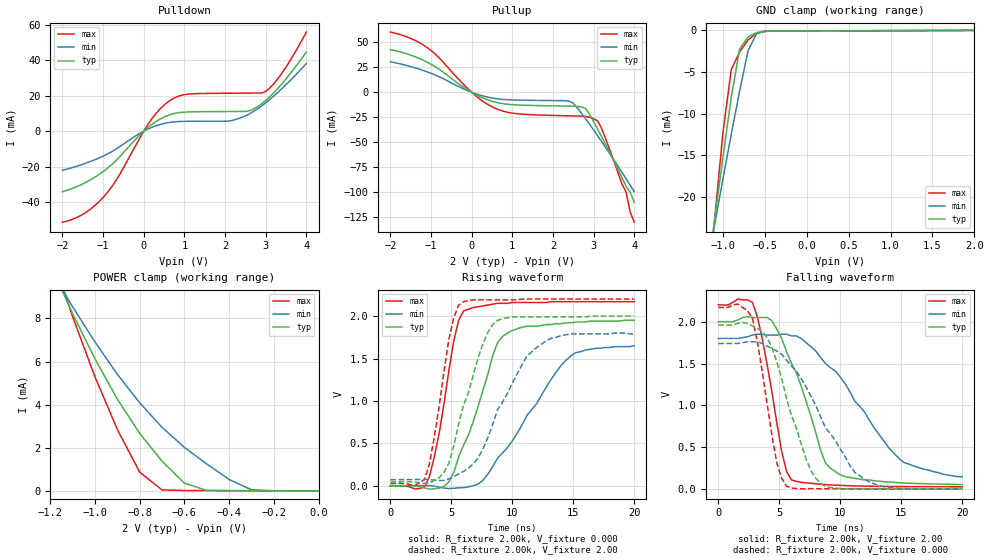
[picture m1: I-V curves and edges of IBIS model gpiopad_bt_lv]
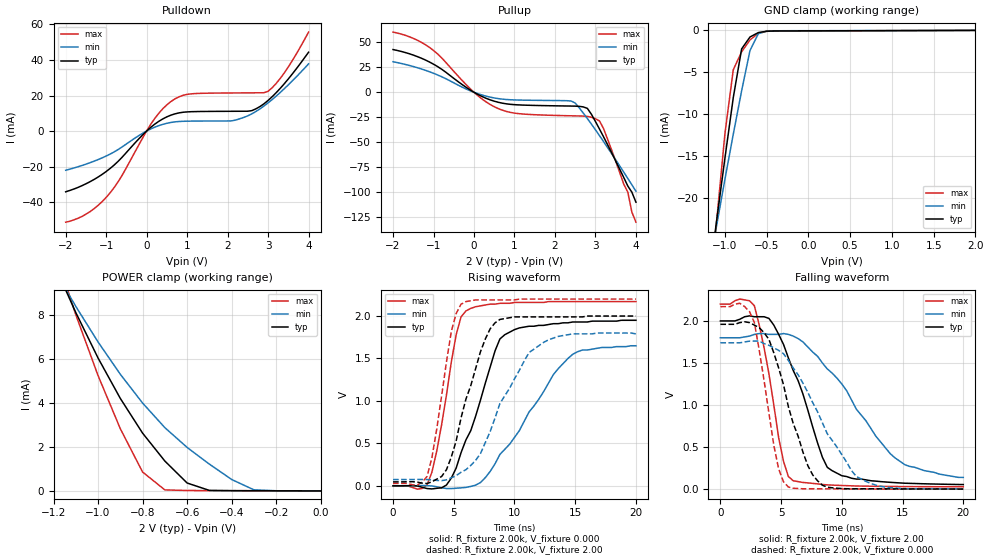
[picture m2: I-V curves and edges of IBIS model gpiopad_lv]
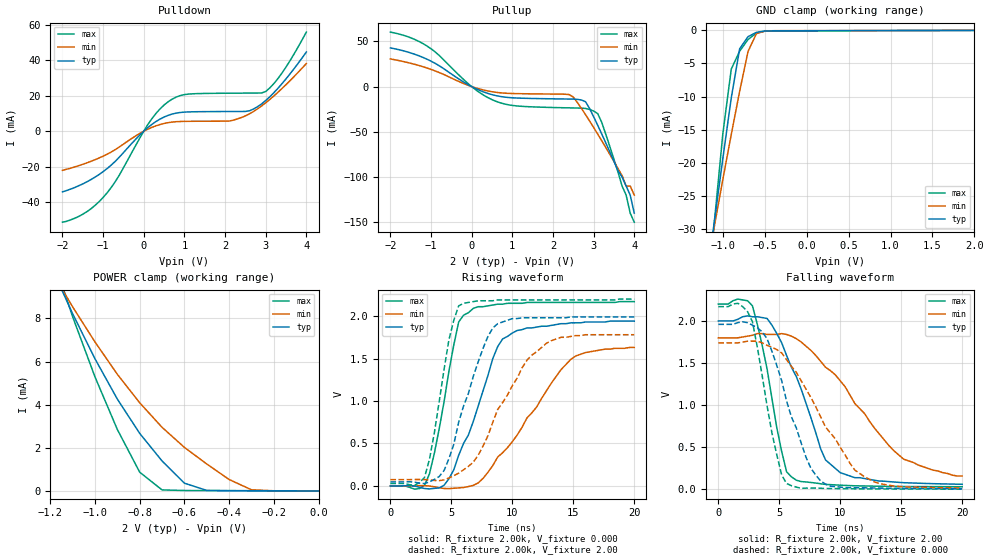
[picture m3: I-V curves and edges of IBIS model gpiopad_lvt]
| IBIS file m5602t00.ibs created by s2ibis2 version 1.1
| North Carolina State University Electronics Research Laboratory  1995
[IBIS ver]   2.1
[File name]   m5602t00.ibs
[File Rev]   1.2
[Date]   April 20, 2006
[Source]   Lars Snith
[Notes]   Property of Atmel Corporation
[Disclaimer] (C) Copyright ATMEL Norway 2006 Atmel Norway makes no warranty
                 for the use of its products, other than those explicitly
                 stated in the Company's standard warranty which is detailed in
                 Atmel's Terms and Conditions located on the Company's web
                 site. The Company assumes no responsibility for any errors
                 which may appear in this document. The user is granted this
                 license only to use the IBIS model and is not granted rights
                 to sell, load, rent, lease or license the IBIS model in whole
                 or in part, or in modified form to anyone other than user.
                 User may modify the IBIS model to suit its specific
                 applications but rights to derivative works and such
                 modifications shall belong to Atmel Norway. This IBIS model is
                 provided on an \"AS IS\" basis and Atmel Norway makes
                 absolutely no warranty with respect to the information
                 contained herein.
[Copyright]   Copyright (c) 2006 by ATMEL Norway
|   Component atmega2560_20_tqfp100
[Component]   atmega2560_20_tqfp100
[Manufacturer]   Atmel Corp.
[Package]
| variable   typ   min   max
R_pkg   19.00m   16.90m   21.20m
L_pkg   1.20nH   1.08nH   1.31nH
C_pkg   0.27pF   0.27pF   0.27pF
[Pin]  signal_name   model_name   R_pin   L_pin   C_pin
1   PG5   gpiopad_lv
| dg5  dg5   dummy
| eng5 eng5   dummy
2   PE0   gpiopad_lv
| de0  de0   dummy
| ene0 ene0   dummy
3   PE1   gpiopad_lv
| de1  de1   dummy
| ene1 ene1   dummy
4   PE2   gpiopad_lv
| de2  de2   dummy
| ene2 ene2   dummy
5   PE3   gpiopad_lv
| de3  de3   dummy
| ene3 ene3   dummy
6   PE4   gpiopad_lv
| de4  de4   dummy
| ene4 ene4   dummy
7   PE5   gpiopad_lv
| de5  de5   dummy
| ene5 ene5   dummy
8   PE6   gpiopad_lv
| de6  de6   dummy
| ene6 ene6   dummy
9   PE7   gpiopad_lv
| de7  de7   dummy
| ene7 ene7   dummy
10   VCC   POWER
11   GND   GND
12   PH0   gpiopad_lv
| dh0  dh0   dummy
| enh0 enh0   dummy
13   PH1   gpiopad_lv
| dh1  dh1   dummy
| enh1 enh1   dummy
14   PH2   gpiopad_lv
| dh2  dh2   dummy
| enh2 enh2   dummy
15   PH3   gpiopad_lv
| dh3  dh3   dummy
| enh3 enh3   dummy
16   PH4   gpiopad_lv
| dh4  dh4   dummy
| enh4 enh4   dummy
17   PH5   gpiopad_lv
| dh5  dh5   dummy
| enh5 enh5   dummy
18   PH6   gpiopad_lv
| dh6  dh6   dummy
| enh6 enh6   dummy
19   PB0   gpiopad_lv
| db0  db0   dummy
| enb0 enb0   dummy
20   PB1   gpiopad_lv
| db1  db1   dummy
| enb1 enb1   dummy
21   PB2   gpiopad_lv
| db2  db2   dummy
| enb2 enb2   dummy
22   PB3   gpiopad_lv
| db3  db3   dummy
| enb3 enb3   dummy
23   PB4   gpiopad_lv
| db4  db4   dummy
| enb4 enb4   dummy
24   PB5   gpiopad_lv
| db5  db5   dummy
| enb5 enb5   dummy
25   PB6   gpiopad_lv
| db6  db6   dummy
| enb6 enb6   dummy
26   PB7   gpiopad_lv
| db7  db7   dummy
| enb7 enb7   dummy
27   PH7   gpiopad_lv
| dh7  dh7   dummy
| enh7 enh7   dummy
28   PG3   gpiopad_lv
| dg3  dg3   dummy
| eng3 eng3   dummy
29   PG4   gpiopad_lv
| dg4  dg4   dummy
| eng4 eng4   dummy
30   RESET   gprstpad2
31   VCC   POWER
32   GND   GND
33   XTAL2   xtalpad_lv_ld_fullsw
| dx2  dx2   dummy
| enx2 enx2   dummy
34   XTAL1   xtalpad_lv_ld
| dx1  dx1   dummy
| enx1 enx1   dummy
35   PL0   gpiopad_lv
| dl0  dl0   dummy
| enl0 enl0   dummy
36   PL1   gpiopad_lv
| dl1  dl1   dummy
| enl1 enl1   dummy
37   PL2   gpiopad_lv
| dl2  dl2   dummy
| enl2 enl2   dummy
38   PL3   gpiopad_lv
| dl3  dl3   dummy
| enl3 enl3   dummy
39   PL4   gpiopad_lv
| dl4  dl4   dummy
| enl4 enl4   dummy
40   PL5   gpiopad_lv
| dl5  dl5   dummy
| enl5 enl5   dummy
41   PL6   gpiopad_lv
| dl6  dl6   dummy
| enl6 enl6   dummy
42   PL7   gpiopad_lv
| dl7  dl7   dummy
| enl7 enl7   dummy
43   PD0   gpiopad_lvt
| dd0  dd0   dummy
| end0 end0   dummy
44   PD1   gpiopad_lvt
| dd1  dd1   dummy
| end1 end1   dummy
45   PD2   gpiopad_lv
| dd2  dd2   dummy
| end2 end2   dummy
46   PD3   gpiopad_lv
| dd3  dd3   dummy
| end3 end3   dummy
47   PD4   gpiopad_lv
| dd4  dd4   dummy
| end4 end4   dummy
48   PD5   gpiopad_lv
| dd5  dd5   dummy
| end5 end5   dummy
49   PD6   gpiopad_lv
| dd6  dd6   dummy
| end6 end6   dummy
50   PD7   gpiopad_lv
| dd7  dd7   dummy
| end7 end7   dummy
51   PG0   gpiopad_lv
| dg0  dg0   dummy
| eng0 eng0   dummy
52   PG1   gpiopad_lv
| dg1  dg1   dummy
| eng1 eng1   dummy
53   PC0   gpiopad_lv
| dc0  dc0   dummy
| enc0 enc0   dummy
54   PC1   gpiopad_lv
| dc1  dc1   dummy
| enc1 enc1   dummy
55   PC2   gpiopad_lv
| dc2  dc2   dummy
| enc2 enc2   dummy
56   PC3   gpiopad_lv
| dc3  dc3   dummy
| enc3 enc3   dummy
57   PC4   gpiopad_lv
| dc4  dc4   dummy
| enc4 enc4   dummy
58   PC5   gpiopad_lv
| dc5  dc5   dummy
| enc5 enc5   dummy
59   PC6   gpiopad_lv
| dc6  dc6   dummy
| enc6 enc6   dummy
60   PC7   gpiopad_lv
| dc7  dc7   dummy
| enc7 enc7   dummy
61   VCC   POWER
62   GND   GND
63   PJ0   gpiopad_lv
| dj0  dj0   dummy
| enj0 enj0   dummy
64   PJ1   gpiopad_lv
| dj1  dj1   dummy
| enj1 enj1   dummy
65   PJ2   gpiopad_lv
| dj2  dj2   dummy
| enj2 enj2   dummy
66   PJ3   gpiopad_lv
| dj3  dj3   dummy
| enj3 enj3   dummy
67   PJ4   gpiopad_lv
| dj4  dj4   dummy
| enj4 enj4   dummy
68   PJ5   gpiopad_lv
| dj5  dj5   dummy
| enj5 enj5   dummy
69   PJ6   gpiopad_lv
| dj6  dj6   dummy
| enj6 enj6   dummy
70   PG2   gpiopad_lv
| dg2  dg2   dummy
| eng2 eng2   dummy
71   PA7   gpiopad_bt_lv
| da7  da7   dummy
| ena7 ena7   dummy
72   PA6   gpiopad_bt_lv
| da6  da6   dummy
| ena6 ena6   dummy
73   PA5   gpiopad_bt_lv
| da5  da5   dummy
| ena5 ena5   dummy
74   PA4   gpiopad_bt_lv
| da4  da4   dummy
| ena4 ena4   dummy
75   PA3   gpiopad_bt_lv
| da3  da3   dummy
| ena3 ena3   dummy
76   PA2   gpiopad_bt_lv
| da2  da2   dummy
| ena2 ena2   dummy
77   PA1   gpiopad_bt_lv
| da1  da1   dummy
| ena1 ena1   dummy
78   PA0   gpiopad_bt_lv
| da0  da0   dummy
| ena0 ena0   dummy
79   PJ7   gpiopad_lv
| dj7  dj7   dummy
| enj7 enj7   dummy
80   VCC   POWER
81   GND   GND
82   PK7   gpiopad_lv
| dk7  dk7   dummy
| enk7 enk7   dummy
83   PK6   gpiopad_lv
| dk6  dk6   dummy
| enk6 enk6   dummy
84   PK5   gpiopad_lv
| dk5  dk5   dummy
| enk5 enk5   dummy
85   PK4   gpiopad_lv
| dk4  dk4   dummy
| enk4 enk4   dummy
86   PK3   gpiopad_lv
| dk3  dk3   dummy
| enk3 enk3   dummy
87   PK2   gpiopad_lv
| dk2  dk2   dummy
| enk2 enk2   dummy
88   PK1   gpiopad_lv
| dk1  dk1   dummy
| enk1 enk1   dummy
89   PK0   gpiopad_lv
| dk0  dk0   dummy
| enk0 enk0   dummy
90   PF7   gpiopad_lv
| df7  df7   dummy
| enf7 enf7   dummy
91   PF6   gpiopad_lv
| df6  df6   dummy
| enf6 enf6   dummy
92   PF5   gpiopad_lv
| df5  df5   dummy
| enf5 enf5   dummy
93   PF4   gpiopad_lv
| df4  df4   dummy
| enf4 enf4   dummy
94   PF3   gpiopad_lv
| df3  df3   dummy
| enf3 enf3   dummy
95   PF2   gpiopad_lv
| df2  df2   dummy
| enf2 enf2   dummy
96   PF1   gpiopad_lv
| df1  df1   dummy
| enf1 enf1   dummy
97   PF0   gpiopad_lv
| df0  df0   dummy
| enf0 enf0   dummy
98   AREF   gpiopad_lv_ld
| darefdaref   dummy
| enarfenarf   dummy
99   GND   GND
100   AVCC   POWER
| Models and submodels in the file (7): gpiopad_bt_lv (I/O), gpiopad_lv (I/O), gpiopad_lvt (I/O), gpiopad_lv_ld (I/O), xtalpad_lv_ld (I/O), xtalpad_lv_ld_fullsw (I/O), gprstpad2 (Input)
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|   Model gpiopad_bt_lv
[Model]   gpiopad_bt_lv
Model_type   I/O
Polarity   Non-Inverting
Enable   Active-High
Vinl =   0.60V
Vinh =   1.40V
Vmeas =   1.00V
Cref =  50.00pF
C_comp   4.21pF   4.21pF   4.61pF
[Temperature Range]   27.00   0.12k   -55.00
[Voltage Range]   2.00V   1.80V   2.20V
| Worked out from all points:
|   slope of the pulldown table from 0 to 0.3 V, typ, clamps not added: 55.3 ohm
|   slope of the pullup table from 0 to 0.3 V, typ, clamps not added: 49.8 ohm
|   GND clamp passes 1 mA (typ) near -0.71 V on its own axis
|   POWER clamp passes 1 mA (typ) near -0.66 V on its own axis
|   rising waveform, R_fixture 2.00k, V_fixture 0.000: 20-80 % time 2.71ns typ, 4.7ns min, 1.51ns max; typ from 0 V to 1.95 V
|   rising waveform, R_fixture 2.00k, V_fixture 2.00: 20-80 % time 2.3ns typ, 3.35ns min, 1.4ns max; typ from 0.047 V to 2 V
|   falling waveform, R_fixture 2.00k, V_fixture 2.00: 20-80 % time 2.76ns typ, 5.03ns min, 1.54ns max; typ from 2 V to 0.056 V
|   falling waveform, R_fixture 2.00k, V_fixture 0.000: 20-80 % time 2.44ns typ, 4.06ns min, 1.42ns max; typ from 1.96 V to 0.002 V
[Pulldown]
| voltage   I(typ)   I(min)   I(max)
-2V       -34.06mA   -21.97mA   -51.2mA
-1.5V     -29.63mA   -18.56mA   -46.78mA
-1V       -22.73mA   -13.99mA   -37.27mA
-600mV    -14.54mA   -8.78mA    -24.63mA
100mV     2.09mA     1.2mA      3.78mA
600mV     8.97mA     4.87mA     16.62mA
1V        10.79mA    5.58mA     20.65mA
2.1V      11.13mA    5.75mA     21.43mA
2.6V      11.52mA    9.8mA      21.51mA
3V        17.32mA    16.03mA    22.4mA
3.4V      26.78mA    24.07mA    32.79mA
4V        44.63mA    38.15mA    55.86mA
[Pullup]
| voltage   I(typ)   I(min)   I(max)
-2V       42.79mA    30.61mA    60.31mA
-1.1V     30.32mA    20.57mA    44.92mA
0V        0A         0A         0A
600mV     -10mA      -6.32mA    -16.31mA
1.1V      -12.62mA   -7.76mA    -21.34mA
2.4V      -13.78mA   -8.76mA    -23.53mA
2.8V      -16.12mA   -26.35mA   -24.12mA
3.1V      -36.86mA   -43.55mA   -28.68mA
3.2V      -44.62mA   -49.5mA    -36.37mA
3.8V      -94.06mA   -86.6mA    -100mA
3.9V      -100mA     -92.96mA   -120mA
4V        -110mA     -99.36mA   -130mA
[GND_clamp]
| voltage   I(typ)   I(min)   I(max)
-2V       -96.84mA   -77.85mA   -130mA
-1.2V     -30.54mA   -29.17mA   -33.74mA
-1.1V     -22.83mA   -23.45mA   -22.88mA
-1V       -15.3mA    -17.88mA   -12.34mA
-900mV    -8.05mA    -12.47mA   -4.71mA
-800mV    -2.23mA    -7.27mA    -2.57mA
-700mV    -800uA     -2.45mA    -1.15mA
-600mV    -270uA     -420uA     -350uA
-500mV    -110uA     -120uA     -120uA
2V        56.53pA    8.29uA     -6.36uA
[POWER_clamp]
| voltage   I(typ)   I(min)   I(max)
-2V       33.35mA    27.47mA    42.79mA
-1.2V     10.5mA     10.29mA    11.2mA
-1.1V     8.22mA     8.54mA     8.08mA
-1V       6.13mA     6.91mA     5.29mA
-900mV    4.26mA     5.41mA     2.85mA
-800mV    2.67mA     4.09mA     870uA
-700mV    1.38mA     2.95mA     47.34uA
-600mV    360uA      2.02mA     20.01uA
-500mV    24.1uA     1.25mA     15.94uA
-400mV    12.5uA     530uA      12.74uA
-300mV    9.23uA     53.03uA    9.55uA
0V        56.55pA    1.69nA     21.57pA
[Ramp]
| variable   typ   min   max
dV/dt_r   1.17/2.70n   0.99/4.45n   1.30/1.49n
dV/dt_f   1.17/2.77n   0.99/4.89n   1.30/1.53n
R_load = 2.00k
[Rising Waveform]
R_fixture = 2.00k
V_fixture = 0.000
V_fixture_min = 0.000
V_fixture_max = 0.000
| time   V(typ)   V(min)   V(max)
0s        0V         570nV      0V
3.2ns     -38.22mV   3.19mV     110mV
4ns       -26.64mV   -13.9mV    620mV
4.8ns     49.23mV    -30.81mV   1.36V
5.6ns     340mV      -22.26mV   1.95V
6ns       480mV      -19.92mV   2.06V
7.6ns     1.13V      68.16mV    2.12V
9.2ns     1.76V      390mV      2.15V
14.8ns    1.92V      1.53V      2.17V
20ns      1.95V      1.65V      2.17V
[Rising Waveform]
R_fixture = 2.00k
V_fixture = 2.00
V_fixture_min = 1.80
V_fixture_max = 2.20
| time   V(typ)   V(min)   V(max)
0s        46.62mV    73.87mV    28.11mV
2.8ns     31.15mV    75.93mV    77.02mV
3.6ns     65.29mV    69.33mV    570mV
4.4ns     160mV      65.3mV     1.35V
5.6ns     730mV      140mV      2.13V
7.2ns     1.51V      330mV      2.19V
8.8ns     1.95V      900mV      2.19V
11.2ns    1.99V      1.53V      2.2V
12.8ns    1.99V      1.71V      2.2V
20ns      2V         1.79V      2.2V
[Falling Waveform]
R_fixture = 2.00k
V_fixture = 2.00
V_fixture_min = 1.80
V_fixture_max = 2.20
| time   V(typ)   V(min)   V(max)
0s        2V         1.8V       2.2V
2.8ns     2.05V      1.84V      2.23V
3.6ns     2.05V      1.85V      1.8V
4.4ns     2.01V      1.84V      1.16V
5.2ns     1.8V       1.85V      450mV
6ns       1.5V       1.83V      110mV
8.4ns     460mV      1.57V      59.1mV
9.2ns     250mV      1.45V      50.89mV
15.2ns    73.46mV    320mV      31.06mV
20ns      55.64mV    150mV      28.89mV
[Falling Waveform]
R_fixture = 2.00k
V_fixture = 0.000
V_fixture_min = 0.000
V_fixture_max = 0.000
| time   V(typ)   V(min)   V(max)
0s        1.96V      1.74V      2.17V
1.6ns     1.98V      1.74V      2.21V
2.8ns     1.95V      1.76V      2.04V
4ns       1.81V      1.71V      1.02V
4.8ns     1.52V      1.65V      310mV
5.6ns     1.08V      1.54V      35.93mV
7.6ns     220mV      1.11V      6.43mV
8.8ns     31.6mV     730mV      5.21mV
12.4ns    6.57mV     84.93mV    2mV
20ns      1.5mV      5.2mV      310uV
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|   Model gpiopad_lv
[Model]   gpiopad_lv
Model_type   I/O
Polarity   Non-Inverting
Enable   Active-High
Vinl =   0.60V
Vinh =   1.40V
Vmeas =   1.00V
Cref =  50.00pF
C_comp   4.21pF   4.21pF   4.61pF
[Temperature Range]   27.00   0.12k   -55.00
[Voltage Range]   2.00V   1.80V   2.20V
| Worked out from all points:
|   slope of the pulldown table from 0 to 0.3 V, typ, clamps not added: 55.2 ohm
|   slope of the pullup table from 0 to 0.3 V, typ, clamps not added: 49.8 ohm
|   GND clamp passes 1 mA (typ) near -0.71 V on its own axis
|   POWER clamp passes 1 mA (typ) near -0.66 V on its own axis
|   rising waveform, R_fixture 2.00k, V_fixture 0.000: 20-80 % time 2.74ns typ, 4.6ns min, 1.51ns max; typ from 0 V to 1.95 V
|   rising waveform, R_fixture 2.00k, V_fixture 2.00: 20-80 % time 2.27ns typ, 3.4ns min, 1.38ns max; typ from 0.047 V to 2 V
|   falling waveform, R_fixture 2.00k, V_fixture 2.00: 20-80 % time 2.78ns typ, 5.12ns min, 1.54ns max; typ from 2 V to 0.055 V
|   falling waveform, R_fixture 2.00k, V_fixture 0.000: 20-80 % time 2.4ns typ, 4.03ns min, 1.43ns max; typ from 1.96 V to 0.001 V
[Pulldown]
| voltage   I(typ)   I(min)   I(max)
-2V       -34.12mA   -22.01mA   -51.2mA
-1.4V     -28.46mA   -17.78mA   -45.3mA
-1V       -22.73mA   -14.01mA   -37.27mA
-600mV    -14.55mA   -8.8mA     -24.63mA
100mV     2.09mA     1.19mA     3.78mA
600mV     8.96mA     4.86mA     16.62mA
1V        10.79mA    5.57mA     20.65mA
2.1V      11.13mA    5.75mA     21.43mA
2.6V      11.51mA    9.72mA     21.51mA
3V        17.24mA    15.87mA    22.39mA
3.4V      26.62mA    23.83mA    32.71mA
4V        44.35mA    37.79mA    55.65mA
[Pullup]
| voltage   I(typ)   I(min)   I(max)
-2V       42.79mA    30.6mA     60.26mA
-1.1V     30.32mA    20.57mA    44.92mA
0V        0A         0A         0A
600mV     -10mA      -6.32mA    -16.31mA
1.1V      -12.61mA   -7.75mA    -21.34mA
2.4V      -13.77mA   -8.73mA    -23.52mA
2.8V      -16.11mA   -26.26mA   -24.11mA
3.1V      -36.8mA    -43.39mA   -28.68mA
3.2V      -44.53mA   -49.31mA   -36.36mA
3.8V      -93.85mA   -86.29mA   -100mA
3.9V      -100mA     -92.62mA   -120mA
4V        -110mA     -98.99mA   -130mA
[GND_clamp]
| voltage   I(typ)   I(min)   I(max)
-2V       -96.58mA   -77.54mA   -130mA
-1.2V     -30.46mA   -29.03mA   -33.69mA
-1.1V     -22.77mA   -23.34mA   -22.85mA
-1V       -15.26mA   -17.79mA   -12.32mA
-900mV    -8.02mA    -12.4mA    -4.7mA
-800mV    -2.21mA    -7.21mA    -2.56mA
-700mV    -790uA     -2.41mA    -1.14mA
-600mV    -260uA     -390uA     -350uA
-500mV    -98.35uA   -96.47uA   -110uA
2V        52.86pA    7.37uA     -6.18uA
[POWER_clamp]
| voltage   I(typ)   I(min)   I(max)
-2V       33.07mA    27.15mA    42.54mA
-1.2V     10.38mA    10.13mA    11.12mA
-1.1V     8.12mA     8.4mA      8.02mA
-1V       6.05mA     6.78mA     5.25mA
-900mV    4.21mA     5.31mA     2.83mA
-800mV    2.63mA     4mA        860uA
-700mV    1.36mA     2.88mA     46.5uA
-600mV    360uA      1.98mA     19.47uA
-500mV    22.74uA    1.22mA     15.49uA
-400mV    11.65uA    520uA      12.38uA
-300mV    8.59uA     50.31uA    9.28uA
0V        53.08pA    1.68nA     17.78pA
[Ramp]
| variable   typ   min   max
dV/dt_r   1.17/2.69n   0.99/4.43n   1.30/1.48n
dV/dt_f   1.17/2.74n   1.00/4.96n   1.30/1.50n
R_load = 2.00k
[Rising Waveform]
R_fixture = 2.00k
V_fixture = 0.000
V_fixture_min = 0.000
V_fixture_max = 0.000
| time   V(typ)   V(min)   V(max)
0s        0V         540nV      0V
2.8ns     -32.19mV   2.44mV     10.58mV
3.6ns     -29.13mV   -10.93mV   410mV
4.4ns     9.63mV     -31.9mV    1.07V
5.2ns     210mV      -28.18mV   1.78V
6ns       540mV      -18.56mV   2.06V
8.4ns     1.59V      260mV      2.14V
9.2ns     1.78V      430mV      2.15V
14.8ns    1.93V      1.55V      2.17V
20ns      1.95V      1.65V      2.17V
[Rising Waveform]
R_fixture = 2.00k
V_fixture = 2.00
V_fixture_min = 1.80
V_fixture_max = 2.20
| time   V(typ)   V(min)   V(max)
0s        46.62mV    73.87mV    28.11mV
2.8ns     27.19mV    74.04mV    110mV
4.4ns     190mV      70.66mV    1.46V
4.8ns     340mV      94.62mV    1.82V
5.6ns     800mV      160mV      2.14V
7.6ns     1.73V      510mV      2.19V
8.8ns     1.96V      970mV      2.19V
11.2ns    1.99V      1.57V      2.2V
12.8ns    1.99V      1.72V      2.2V
20ns      2V         1.79V      2.2V
[Falling Waveform]
R_fixture = 2.00k
V_fixture = 2.00
V_fixture_min = 1.80
V_fixture_max = 2.20
| time   V(typ)   V(min)   V(max)
0s        2V         1.8V       2.2V
1.6ns     2.02V      1.8V       2.26V
2.8ns     2.05V      1.84V      2.18V
4ns       2.03V      1.84V      1.37V
5.2ns     1.72V      1.85V      330mV
6ns       1.41V      1.82V      100mV
8.4ns     380mV      1.5V       56.13mV
9.2ns     220mV      1.38V      48.65mV
14.4ns    77.73mV    370mV      31.78mV
20ns      55mV       140mV      28.69mV
[Falling Waveform]
R_fixture = 2.00k
V_fixture = 0.000
V_fixture_min = 0.000
V_fixture_max = 0.000
| time   V(typ)   V(min)   V(max)
0s        1.96V      1.74V      2.17V
1.6ns     1.98V      1.74V      2.21V
2.8ns     1.95V      1.76V      1.98V
4ns       1.78V      1.71V      900mV
4.8ns     1.44V      1.65V      240mV
5.6ns     980mV      1.53V      25.72mV
7.2ns     280mV      1.15V      5.2mV
8ns       99.92mV    920mV      5.02mV
11.2ns    4.56mV     150mV      2.13mV
20ns      1.34mV     3.85mV     160uV
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|   Model gpiopad_lvt
[Model]   gpiopad_lvt
Model_type   I/O
Polarity   Non-Inverting
Enable   Active-High
Vinl =   0.60V
Vinh =   1.40V
Vmeas =   1.00V
Cref =  50.00pF
C_comp   4.47pF   4.47pF   4.88pF
[Temperature Range]   27.00   0.12k   -55.00
[Voltage Range]   2.00V   1.80V   2.20V
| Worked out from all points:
|   slope of the pulldown table from 0 to 0.3 V, typ, clamps not added: 55.2 ohm
|   slope of the pullup table from 0 to 0.3 V, typ, clamps not added: 49.8 ohm
|   GND clamp passes 1 mA (typ) near -0.70 V on its own axis
|   POWER clamp passes 1 mA (typ) near -0.66 V on its own axis
|   rising waveform, R_fixture 2.00k, V_fixture 0.000: 20-80 % time 2.87ns typ, 4.93ns min, 1.64ns max; typ from 0 V to 1.94 V
|   rising waveform, R_fixture 2.00k, V_fixture 2.00: 20-80 % time 2.48ns typ, 3.62ns min, 1.48ns max; typ from 0.047 V to 1.99 V
|   falling waveform, R_fixture 2.00k, V_fixture 2.00: 20-80 % time 2.95ns typ, 5.54ns min, 1.67ns max; typ from 2 V to 0.062 V
|   falling waveform, R_fixture 2.00k, V_fixture 0.000: 20-80 % time 2.59ns typ, 4.22ns min, 1.62ns max; typ from 1.96 V to 0.008 V
[Pulldown]
| voltage   I(typ)   I(min)   I(max)
-2V       -34.1mA    -22.01mA   -51.2mA
-1.5V     -29.65mA   -18.59mA   -46.71mA
-1V       -22.73mA   -14.02mA   -37.28mA
-600mV    -14.54mA   -8.8mA     -24.63mA
100mV     2.09mA     1.19mA     3.78mA
600mV     8.96mA     4.86mA     16.62mA
1V        10.79mA    5.57mA     20.65mA
2.1V      11.13mA    5.75mA     21.43mA
2.6V      11.52mA    9.8mA      21.51mA
3V        17.32mA    16.03mA    22.4mA
3.4V      26.78mA    24.07mA    32.79mA
4V        44.63mA    38.15mA    55.86mA
[Pullup]
| voltage   I(typ)   I(min)   I(max)
-2V       42.79mA    30.6mA     60.31mA
-1.1V     30.32mA    20.57mA    44.92mA
0V        0A         0A         0A
500mV     -8.9mA     -5.66mA    -14.42mA
1.1V      -12.61mA   -7.75mA    -21.34mA
2.4V      -13.77mA   -8.84mA    -23.52mA
2.8V      -16.68mA   -30.95mA   -24.17mA
3.1V      -42.74mA   -52.48mA   -29.82mA
3.7V      -100mA     -98.44mA   -110mA
3.8V      -110mA     -110mA     -120mA
3.9V      -120mA     -110mA     -140mA
4V        -140mA     -120mA     -150mA
[GND_clamp]
| voltage   I(typ)   I(min)   I(max)
-2V       -120mA     -97.59mA   -160mA
-1.2V     -38.35mA   -36.62mA   -42.28mA
-1.1V     -28.7mA    -29.47mA   -28.72mA
-1V       -19.31mA   -22.48mA   -15.55mA
-900mV    -10.2mA    -15.72mA   -5.85mA
-800mV    -2.78mA    -9.2mA     -3.14mA
-700mV    -950uA     -3.18mA    -1.38mA
-600mV    -300uA     -500uA     -400uA
-500mV    -100uA     -110uA     -120uA
2V        66.34pA    7.59uA     -6.18uA
[POWER_clamp]
| voltage   I(typ)   I(min)   I(max)
-2V       33.35mA    27.47mA    42.79mA
-1.2V     10.5mA     10.29mA    11.2mA
-1.1V     8.22mA     8.54mA     8.08mA
-1V       6.13mA     6.91mA     5.29mA
-900mV    4.26mA     5.41mA     2.85mA
-800mV    2.67mA     4.09mA     870uA
-700mV    1.39mA     2.95mA     46.8uA
-600mV    360uA      2.02mA     19.47uA
-500mV    23.29uA    1.25mA     15.49uA
-400mV    11.66uA    530uA      12.38uA
-300mV    8.59uA     53.02uA    9.28uA
0V        66.56pA    2.03nA     26.54pA
[Ramp]
| variable   typ   min   max
dV/dt_r   1.17/2.91n   0.98/4.71n   1.30/1.61n
dV/dt_f   1.16/2.96n   0.99/5.38n   1.30/1.66n
R_load = 2.00k
[Rising Waveform]
R_fixture = 2.00k
V_fixture = 0.000
V_fixture_min = 0.000
V_fixture_max = 0.000
| time   V(typ)   V(min)   V(max)
0s        0V         600nV      0V
2.4ns     -16.58mV   3.11mV     -30.79mV
3.2ns     -35.66mV   -1.43mV    140mV
4.4ns     7.22mV     -30.89mV   990mV
5.6ns     360mV      -23.6mV    1.93V
6ns       500mV      -18.77mV   2.01V
7.2ns     940mV      34.57mV    2.11V
9.2ns     1.73V      390mV      2.14V
14.8ns    1.92V      1.49V      2.16V
20ns      1.94V      1.63V      2.17V
[Rising Waveform]
R_fixture = 2.00k
V_fixture = 2.00
V_fixture_min = 1.80
V_fixture_max = 2.20
| time   V(typ)   V(min)   V(max)
0s        46.62mV    73.87mV    28.11mV
2.8ns     27.6mV     74.09mV    100mV
3.6ns     76.24mV    64.37mV    620mV
4.4ns     180mV      70.29mV    1.37V
5.6ns     750mV      150mV      2.12V
7.2ns     1.46V      360mV      2.18V
8.8ns     1.91V      900mV      2.19V
11.2ns    1.98V      1.48V      2.19V
12.8ns    1.98V      1.68V      2.19V
20ns      1.99V      1.78V      2.2V
[Falling Waveform]
R_fixture = 2.00k
V_fixture = 2.00
V_fixture_min = 1.80
V_fixture_max = 2.20
| time   V(typ)   V(min)   V(max)
0s        2V         1.8V       2.2V
2.8ns     2.05V      1.83V      2.18V
4ns       2.03V      1.84V      1.43V
5.2ns     1.74V      1.85V      450mV
5.6ns     1.59V      1.84V      210mV
6ns       1.45V      1.82V      150mV
8.8ns     350mV      1.45V      60.25mV
10ns      200mV      1.29V      51.24mV
15.2ns    80.7mV     360mV      35.58mV
20ns      62.06mV    160mV      32.66mV
[Falling Waveform]
R_fixture = 2.00k
V_fixture = 0.000
V_fixture_min = 0.000
V_fixture_max = 0.000
| time   V(typ)   V(min)   V(max)
0s        1.96V      1.74V      2.17V
1.6ns     1.98V      1.74V      2.21V
2.8ns     1.95V      1.76V      1.99V
4ns       1.79V      1.71V      990mV
5.2ns     1.29V      1.62V      170mV
5.6ns     1.05V      1.54V      71.42mV
7.6ns     250mV      1.09V      16.8mV
8.8ns     62.64mV    740mV      12.24mV
12.8ns    17.53mV    90.29mV    6.77mV
20ns      8.23mV     17.76mV    3.91mV
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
